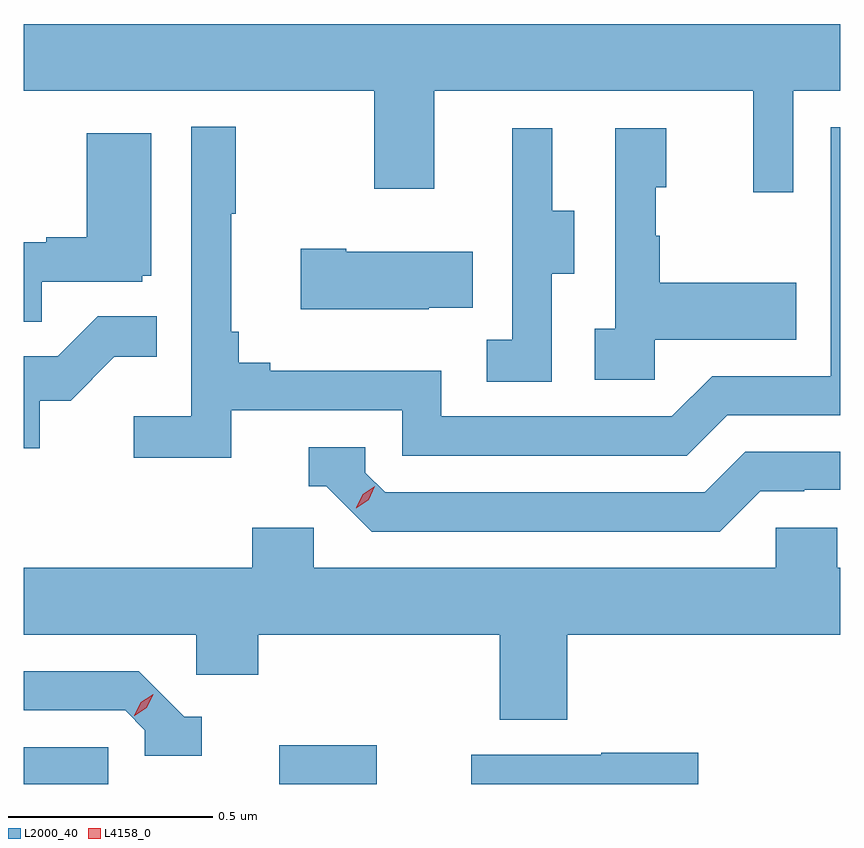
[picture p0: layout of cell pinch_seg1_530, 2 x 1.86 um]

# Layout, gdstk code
import gdstk
lib = gdstk.Library(unit=1e-6, precision=1e-09)
def R(c, l, rs):  # rectangles x0, y0, x1, y1
    for r in rs: c.add(gdstk.rectangle(r[:2], r[2:], *l))
def P(c, l, *ps):  # polygons
    for p in ps: c.add(gdstk.Polygon(p, *l))
L2000_40 = (2000, 40)
L4158_0 = (4158, 0)

pinch_seg1_530 = lib.new_cell('pinch_seg1_530')
R(pinch_seg1_530, L2000_40, [(1046.307,535.383,1046.514,535.473), (1046.933,535.383,1047.172,535.478)])
P(pinch_seg1_530, L2000_40, [(1048.191,537.08),(1048.307,537.08),(1048.307,537.244),(1046.307,537.244),(1046.307,537.08),(1047.166,537.08),(1047.166,536.841),(1047.313,536.841),(1047.313,537.08),(1048.094,537.08),(1048.094,536.832),(1048.191,536.832)],
  [(1046.816,536.298),(1047.234,536.298),(1047.234,536.187),(1047.931,536.187),(1048.03,536.286),(1048.307,536.286),(1048.307,536.991),(1048.284,536.991),(1048.284,536.382),(1047.993,536.382),(1047.894,536.283),(1047.33,536.283),(1047.33,536.395),(1046.911,536.395),(1046.911,536.414),(1046.834,536.414),(1046.834,536.491),(1046.815,536.491),(1046.815,536.779),(1046.827,536.779),(1046.827,536.992),(1046.718,536.992),(1046.718,536.284),(1046.577,536.284),(1046.577,536.182),(1046.816,536.182)],
  [(1047.6,536.632),(1047.655,536.632),(1047.655,536.787),(1047.601,536.787),(1047.601,536.989),(1047.503,536.989),(1047.503,536.775),(1047.504,536.775),(1047.504,536.471),(1047.441,536.471),(1047.441,536.368),(1047.6,536.368)],
  [(1047.852,536.471),(1048.199,536.471),(1048.199,536.611),(1047.865,536.611),(1047.865,536.726),(1047.855,536.726),(1047.855,536.844),(1047.88,536.844),(1047.88,536.989),(1047.756,536.989),(1047.756,536.498),(1047.705,536.498),(1047.705,536.373),(1047.852,536.373)],
  [(1046.351,536.613),(1046.598,536.613),(1046.598,536.628),(1046.62,536.628),(1046.62,536.977),(1046.462,536.977),(1046.462,536.722),(1046.363,536.722),(1046.363,536.709),(1046.307,536.709),(1046.307,536.515),(1046.351,536.515)],
  [(1047.299,536.549),(1047.407,536.549),(1047.407,536.686),(1047.097,536.686),(1047.097,536.694),(1046.985,536.694),(1046.985,536.546),(1047.299,536.546)],
  [(1046.346,536.322),(1046.422,536.322),(1046.529,536.429),(1046.633,536.429),(1046.633,536.528),(1046.489,536.528),(1046.391,536.43),(1046.307,536.43),(1046.307,536.205),(1046.346,536.205)],
  [(1048.111,536.1),(1048.218,536.1),(1048.218,536.103),(1048.307,536.103),(1048.307,536.196),(1048.074,536.196),(1047.975,536.097),(1047.192,536.097),(1047.144,536.145),(1047.144,536.208),(1047.005,536.208),(1047.005,536.112),(1047.048,536.112),(1047.159,536.001),(1048.012,536.001)],
  [(1047.638,535.748),(1048.307,535.748),(1048.307,535.912),(1048.299,535.912),(1048.299,536.01),(1048.149,536.01),(1048.149,535.912),(1047.018,535.912),(1047.018,536.01),(1046.867,536.01),(1046.867,535.912),(1046.307,535.912),(1046.307,535.748),(1046.73,535.748),(1046.73,535.65),(1046.882,535.65),(1046.882,535.748),(1047.473,535.748),(1047.473,535.54),(1047.638,535.54)],
  [(1046.743,535.548),(1046.7,535.548),(1046.589,535.659),(1046.307,535.659),(1046.307,535.563),(1046.556,535.563),(1046.604,535.515),(1046.604,535.452),(1046.743,535.452)],
  [(1047.959,535.46),(1047.721,535.46),(1047.721,535.455),(1047.403,535.455),(1047.403,535.383),(1047.959,535.383)])
P(pinch_seg1_530, L4158_0, [(1047.121,536.058),(1047.121,536.059),(1047.137,536.092),(1047.167,536.112),(1047.167,536.112),(1047.167,536.112),(1047.152,536.079),(1047.122,536.058)],
  [(1046.578,535.55),(1046.578,535.55),(1046.594,535.583),(1046.625,535.603),(1046.625,535.603),(1046.625,535.603),(1046.609,535.57),(1046.579,535.55)])

lib.write_gds('pinch_seg1_530.gds')
